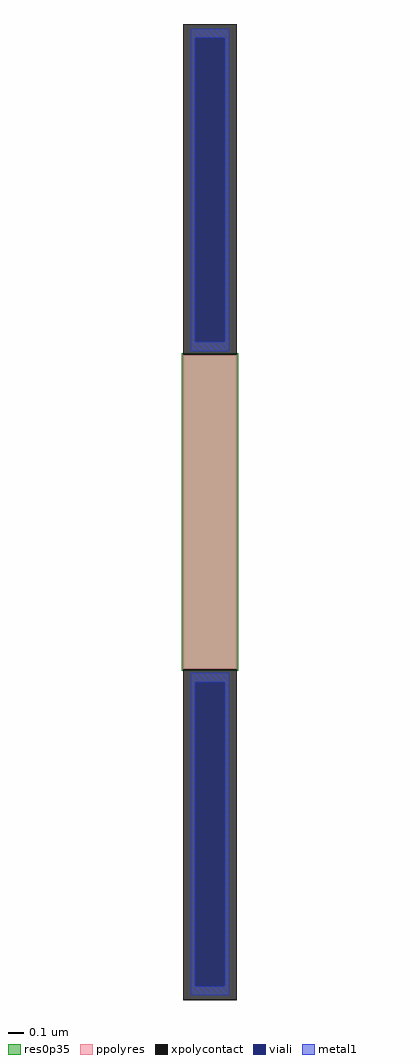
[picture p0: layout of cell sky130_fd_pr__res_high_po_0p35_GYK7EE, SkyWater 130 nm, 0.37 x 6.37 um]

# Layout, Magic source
magic
tech sky130A
magscale 1 2
<< xpolycontact >>
rect -35 205 35 637
rect -35 -637 35 -205
<< ppolyres >>
rect -35 -205 35 205
<< viali >>
rect -19 222 19 619
rect -19 -619 19 -222
<< metal1 >>
rect -25 619 25 631
rect -25 222 -19 619
rect 19 222 25 619
rect -25 210 25 222
rect -25 -222 25 -210
rect -25 -619 -19 -222
rect 19 -619 25 -222
rect -25 -631 25 -619
<< res0p35 >>
rect -37 -207 37 207
<< properties >>
string gencell sky130_fd_pr__res_high_po_0p35
string library sky130
string parameters w 0.350 l 2.05 m 1 nx 1 wmin 0.350 lmin 0.50 rho 319.8 val 2.986k dummy 0 dw 0.0 term 194.82 sterm 0.0 caplen 0 guard 0 glc 1 grc 1 gtc 1 gbc 1 compatible {sky130_fd_pr__res_high_po_0p35  sky130_fd_pr__res_high_po_0p69 sky130_fd_pr__res_high_po_1p41  sky130_fd_pr__res_high_po_2p85 sky130_fd_pr__res_high_po_5p73} full_metal 1 wmax 0.350 vias 1 n_guard 0 hv_guard 0 viagb 0 viagt 0 viagl 0 viagr 0
<< end >>
